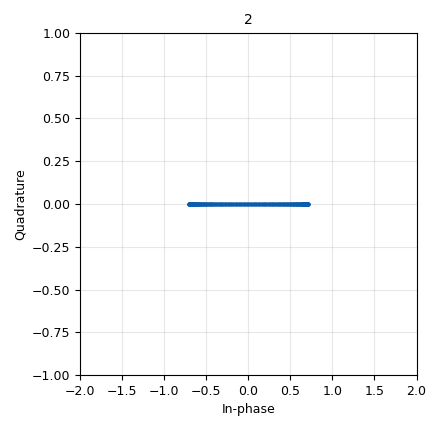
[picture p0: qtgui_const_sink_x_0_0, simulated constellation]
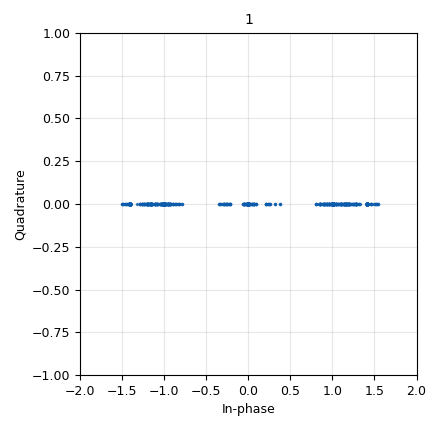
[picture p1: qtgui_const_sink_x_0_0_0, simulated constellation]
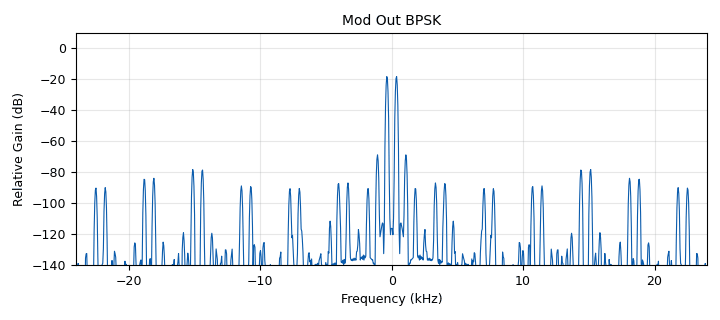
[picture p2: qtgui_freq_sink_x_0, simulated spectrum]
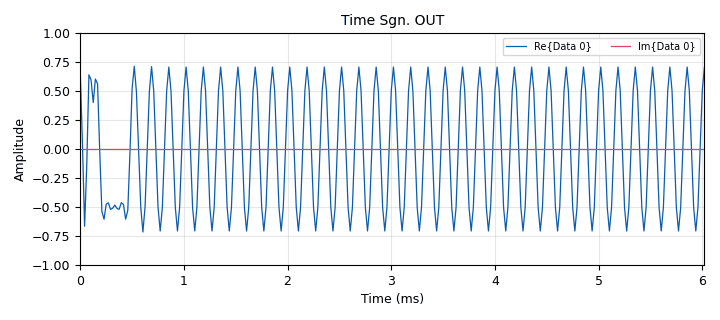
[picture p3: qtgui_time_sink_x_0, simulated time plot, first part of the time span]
options:
  parameters:
    author: art3m1sf0wl
    generate_options: qt_gui
    id: test_8_pkt_transmission
    output_language: python
    title: Not titled yet
  states: {}

blocks:
- name: RX_rf_gain
  id: variable_qtgui_range
  parameters:
    start: '0'
    step: '1'
    stop: '50'
    value: '0'
  states: {}
- name: TX_rf_gain
  id: variable_qtgui_range
  parameters:
    start: '0'
    step: '1'
    stop: '50'
    value: '30'
  states: {}
- name: bpsk
  id: variable_constellation
  parameters:
    precision: '8'
    type: bpsk
  states: {}
- name: excess_bw
  id: variable
  parameters:
    value: '0.35'
  states: {}
- name: freq_slide
  id: variable_qtgui_range
  parameters:
    start: '0'
    step: 1e3
    stop: 1e6
    value: '0'
  states: {}
- name: interval
  id: variable
  parameters:
    value: '0.400'
  states: {}
- name: order
  id: variable
  parameters:
    value: '2'
  states: {}
- name: phase_bw
  id: variable
  parameters:
    value: '0.0628'
  states: {}
- name: rs_ratio
  id: variable
  parameters:
    value: '1.040'
  states: {}
- name: samp_rate
  id: variable
  parameters:
    value: '48000'
  states: {}
- name: samp_rate_0
  id: variable
  parameters:
    value: '768000'
  states: {}
- name: sps
  id: variable
  parameters:
    value: '2'
  states: {}
- name: thresh
  id: variable
  parameters:
    value: '1'
  states: {}
- name: usrp_rate
  id: variable
  parameters:
    value: '768000'
  states: {}
- name: variable_adaptive_algorithm_0
  id: variable_adaptive_algorithm
  parameters:
    cons: bpsk
    modulus: sps
    step_size: '.0001'
    type: cma
  states: {}
- name: blocks_message_debug_1
  id: blocks_message_debug
  parameters: {}
  states: {}
- name: blocks_multiply_const_vxx_0
  id: blocks_multiply_const_vxx
  parameters:
    const: '0.5'
    type: complex
  states: {}
- name: blocks_repack_bits_bb_1
  id: blocks_repack_bits_bb
  parameters:
    endianness: gr.GR_MSB_FIRST
    k: '1'
    l: '8'
    len_tag_key: '"packet_len"'
  states: {}
- name: blocks_throttle_0
  id: blocks_throttle
  parameters:
    samples_per_second: samp_rate
    type: complex
  states: {}
- name: blocks_throttle_0_0
  id: blocks_throttle
  parameters:
    samples_per_second: samp_rate
    type: complex
  states: {}
- name: digital_constellation_decoder_cb_0
  id: digital_constellation_decoder_cb
  parameters:
    constellation: bpsk
  states: {}
- name: digital_constellation_modulator_0
  id: digital_constellation_modulator
  parameters:
    constellation: bpsk
    differential: 'True'
    excess_bw: excess_bw
    samples_per_symbol: sps
  states: {}
- name: digital_correlate_access_code_xx_ts_0
  id: digital_correlate_access_code_xx_ts
  parameters:
    access_code: '"11100001010110101110100010010011"'
    tagname: packet_len
    threshold: thresh
    type: byte
  states: {}
- name: digital_costas_loop_cc_0
  id: digital_costas_loop_cc
  parameters:
    order: order
    w: phase_bw
  states: {}
- name: digital_diff_decoder_bb_0
  id: digital_diff_decoder_bb
  parameters:
    coding: digital.DIFF_DIFFERENTIAL
    modulus: '2'
  states: {}
- name: digital_linear_equalizer_0
  id: digital_linear_equalizer
  parameters:
    alg: variable_adaptive_algorithm_0
    num_taps: '15'
    sps: '1'
  states: {}
- name: digital_map_bb_0
  id: digital_map_bb
  parameters:
    map: '[0,1]'
  states: {}
- name: digital_symbol_sync_xx_0
  id: digital_symbol_sync_xx
  parameters:
    damping: '1.0'
    loop_bw: phase_bw
    max_dev: '1.5'
    osps: '1'
    resamp_type: digital.IR_MMSE_8TAP
    sps: sps
    ted_gain: '1.0'
    ted_type: digital.TED_MUELLER_AND_MULLER
    type: cc
  states: {}
- name: epy_block_0
  id: epy_block
  parameters:
    _source_code: |
      """
      Embedded Python Block
      """

      import numpy as np
      from gnuradio import gr
      import pmt

      class blk(gr.sync_block):
          """Packet Format"""

          def __init__(self):
              gr.sync_block.__init__(self,
                  name = "Packet Format",
                  in_sig = None,
                  out_sig = None)
              self.message_port_register_in(pmt.intern('PDU_in'))
              self.message_port_register_out(pmt.intern('PDU_out'))
              self.set_msg_handler(pmt.intern('PDU_in'), self.handle_msg)

          def handle_msg(self, msg):
              inMsg = pmt.to_python (msg)
              pld = inMsg[1]
              # print (pld)
              mLen = len(pld)
              # print (mLen)
              if (mLen > 0):
                  char_list = [85,85,85,85,85,85,85,85,85,85,85,85,85,85,85,85,85,85,85,85,85,85,85,85,85,85,85,85,85,85,85,85,225,90,232,147]
                  char_list.append (mLen >> 8)
                  char_list.append (mLen & 255)
                  char_list.append (mLen >> 8)
                  char_list.append (mLen & 255)
                  char_list.extend (pld)
                  # print (char_list)
                  out_len = len(char_list)
                  # print (out_len)
                  self.message_port_pub(pmt.intern('PDU_out'), pmt.cons(pmt.PMT_NIL,pmt.init_u8vector(out_len,(char_list))))
  states: {}
- name: mmse_resampler_xx_0
  id: mmse_resampler_xx
  parameters:
    phase_shift: '0'
    resamp_ratio: 1.0/((usrp_rate/samp_rate)*rs_ratio)
    type: complex
  states: {}
- name: mmse_resampler_xx_0_0
  id: mmse_resampler_xx
  parameters:
    phase_shift: '0'
    resamp_ratio: ((usrp_rate/samp_rate)*rs_ratio)
    type: complex
  states: {}
- name: msg_strobe
  id: blocks_message_strobe
  parameters:
    comment: Emits pmt.PMT_T
    msg: pmt.cons(pmt.PMT_NIL,pmt.init_u8vector(9,(71,78,85,32,97,100,105,111)))
    period: int(interval*1000)
  states: {}
- name: osmosdr_sink_0
  id: osmosdr_sink
  parameters:
    bb_gain0: '20'
    freq0: 415.4e6+freq_slide
    gain0: TX_rf_gain
    if_gain0: '20'
    sample_rate: samp_rate_0
    sync: sync
    type: fc32
  states: {}
- name: osmosdr_source_1
  id: osmosdr_source
  parameters:
    args: '"bladerf=0,nchan=1,buffers=48,transfers=24,agc_mode=manual"'
    bb_gain0: '20'
    freq0: 415.4e6
    gain0: RX_rf_gain
    gain_mode0: 'False'
    if_gain0: '20'
    sample_rate: samp_rate_0
    sync: sync
    type: fc32
  states: {}
- name: pdu_pdu_to_tagged_stream_0
  id: pdu_pdu_to_tagged_stream
  parameters:
    tag: packet_len
    type: byte
  states: {}
- name: pdu_tagged_stream_to_pdu_0
  id: pdu_tagged_stream_to_pdu
  parameters:
    tag: packet_len
    type: byte
  states: {}
- name: qtgui_const_sink_x_0
  id: qtgui_const_sink_x
  parameters:
    size: '1024'
    type: complex
    ymax: '1'
    ymin: '-1'
  states: {}
- name: qtgui_const_sink_x_0_0
  id: qtgui_const_sink_x
  parameters:
    name: '"2"'
    size: '1024'
    type: complex
    ymax: '1'
    ymin: '-1'
  states: {}
- name: qtgui_const_sink_x_0_0_0
  id: qtgui_const_sink_x
  parameters:
    name: '"1"'
    size: '1024'
    type: complex
    ymax: '1'
    ymin: '-1'
  states: {}
- name: qtgui_const_sink_x_0_0_1
  id: qtgui_const_sink_x
  parameters:
    name: '"3"'
    size: '1024'
    type: complex
    ymax: '1'
    ymin: '-1'
  states: {}
- name: qtgui_freq_sink_x_0
  id: qtgui_freq_sink_x
  parameters:
    bw: samp_rate
    fc: '0'
    fftsize: '1024'
    name: '"Mod Out BPSK"'
    type: complex
  states: {}
- name: qtgui_time_sink_x_0
  id: qtgui_time_sink_x
  parameters:
    name: '"Time Sgn. OUT"'
    size: '1024'
    srate: samp_rate
    tr_mode: qtgui.TRIG_MODE_TAG
    tr_tag: '"packet_len"'
    type: complex
  states: {}
- name: virtual_sink_0
  id: virtual_sink
  parameters:
    stream_id: tx1
  states: {}
- name: virtual_source_0
  id: virtual_source
  parameters:
    stream_id: tx1
  states: {}
- name: zeromq_pub_sink_0
  id: zeromq_pub_sink
  parameters:
    address: tcp://127.0.0.1:49203
    comment: USRP sample rate = 768kHz
    timeout: '100'
    type: complex
  states: {}

connections:
- [blocks_multiply_const_vxx_0, '0', mmse_resampler_xx_0, '0']
- [blocks_multiply_const_vxx_0, '0', qtgui_time_sink_x_0, '0']
- [blocks_repack_bits_bb_1, '0', pdu_tagged_stream_to_pdu_0, '0']
- [blocks_throttle_0, '0', blocks_multiply_const_vxx_0, '0']
- [blocks_throttle_0_0, '0', digital_symbol_sync_xx_0, '0']
- [digital_constellation_decoder_cb_0, '0', digital_diff_decoder_bb_0, '0']
- [digital_constellation_modulator_0, '0', qtgui_const_sink_x_0_0_0, '0']
- [digital_constellation_modulator_0, '0', virtual_sink_0, '0']
- [digital_correlate_access_code_xx_ts_0, '0', blocks_repack_bits_bb_1, '0']
- [digital_costas_loop_cc_0, '0', digital_constellation_decoder_cb_0, '0']
- [digital_costas_loop_cc_0, '0', qtgui_const_sink_x_0, '0']
- [digital_diff_decoder_bb_0, '0', digital_map_bb_0, '0']
- [digital_linear_equalizer_0, '0', digital_costas_loop_cc_0, '0']
- [digital_map_bb_0, '0', digital_correlate_access_code_xx_ts_0, '0']
- [digital_symbol_sync_xx_0, '0', digital_linear_equalizer_0, '0']
- [epy_block_0, PDU_out, pdu_pdu_to_tagged_stream_0, pdus]
- [mmse_resampler_xx_0, '0', osmosdr_sink_0, '0']
- [mmse_resampler_xx_0, '0', qtgui_const_sink_x_0_0, '0']
- [mmse_resampler_xx_0, '0', qtgui_freq_sink_x_0, '0']
- [mmse_resampler_xx_0, '0', zeromq_pub_sink_0, '0']
- [mmse_resampler_xx_0_0, '0', blocks_throttle_0_0, '0']
- [msg_strobe, strobe, epy_block_0, PDU_in]
- [osmosdr_source_1, '0', mmse_resampler_xx_0_0, '0']
- [osmosdr_source_1, '0', qtgui_const_sink_x_0_0_1, '0']
- [pdu_pdu_to_tagged_stream_0, '0', digital_constellation_modulator_0, '0']
- [pdu_tagged_stream_to_pdu_0, pdus, blocks_message_debug_1, print]
- [virtual_source_0, '0', blocks_throttle_0, '0']

metadata:
  file_format: 1
  grc_version: 3.10.5.1
